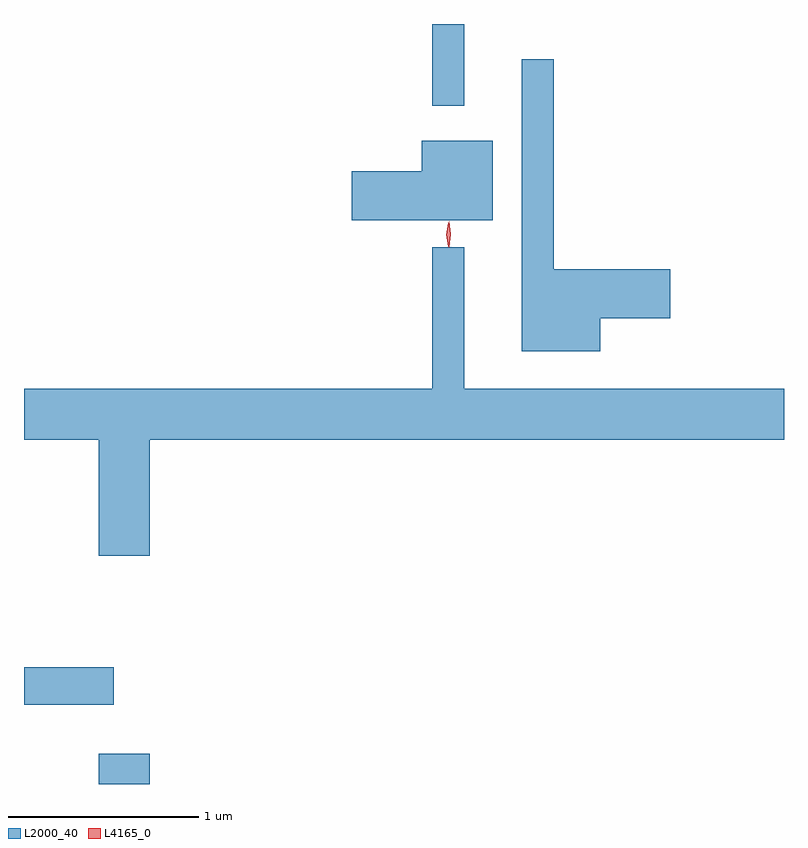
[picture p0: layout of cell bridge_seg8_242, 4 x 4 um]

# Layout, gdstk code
import gdstk
lib = gdstk.Library(unit=1e-6, precision=1e-09)
def R(c, l, rs):  # rectangles x0, y0, x1, y1
    for r in rs: c.add(gdstk.rectangle(r[:2], r[2:], *l))
def P(c, l, *ps):  # polygons
    for p in ps: c.add(gdstk.Polygon(p, *l))
L2000_40 = (2000, 40)
L4165_0 = (4165, 0)

bridge_seg8_242 = lib.new_cell('bridge_seg8_242')
R(bridge_seg8_242, L2000_40, [(1054.236,1810.184,1054.504,1810.344), (1053.842,1810.601,1054.314,1810.799), (1055.991,1813.753,1056.159,1814.184)])
P(bridge_seg8_242, L2000_40, [(1056.874,1812.636),(1057.244,1812.636),(1057.244,1812.894),(1056.629,1812.894),(1056.629,1813.998),(1056.461,1813.998),(1056.461,1812.461),(1056.874,1812.461)],
  [(1056.309,1813.569),(1055.936,1813.569),(1055.936,1813.409),(1055.566,1813.409),(1055.566,1813.151),(1056.309,1813.151)],
  [(1054.504,1811.996),(1057.842,1811.996),(1057.842,1812.264),(1056.159,1812.264),(1056.159,1813.008),(1055.991,1813.008),(1055.991,1812.264),(1053.842,1812.264),(1053.842,1811.996),(1054.236,1811.996),(1054.236,1811.386),(1054.504,1811.386)])
P(bridge_seg8_242, L4165_0, [(1056.078,1813.01),(1056.078,1813.01),(1056.069,1813.078),(1056.079,1813.145),(1056.08,1813.146),(1056.08,1813.145),(1056.089,1813.078),(1056.079,1813.01)],
  [(1056.074,1813.013),(1056.065,1813.076),(1056.074,1813.139),(1056.075,1813.14),(1056.075,1813.139),(1056.085,1813.076),(1056.075,1813.013),(1056.075,1813.013)])

lib.write_gds('bridge_seg8_242.gds')
